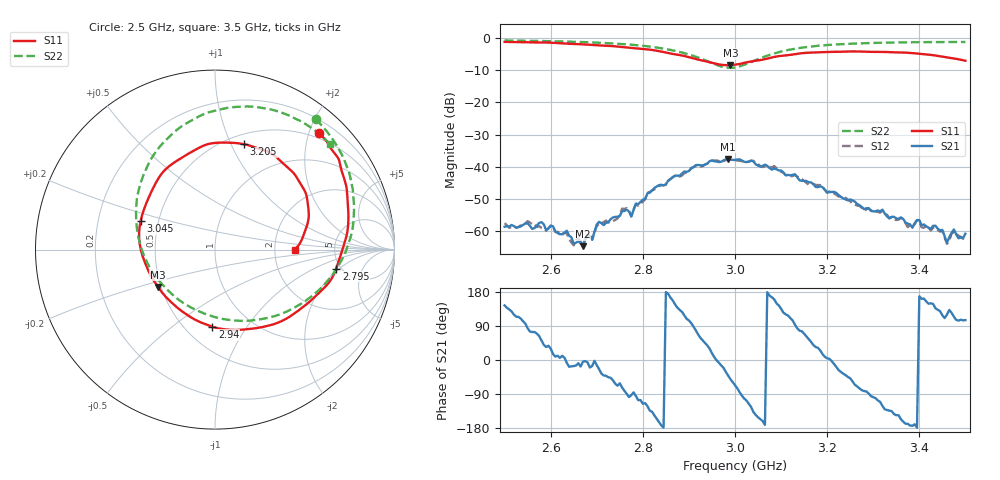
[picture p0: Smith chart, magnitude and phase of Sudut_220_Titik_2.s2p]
# Hz S RI R 50
! CMT, C1220, 16058040, 17.2.0/1
! Date: 15/08/2018 10:51:23
! Data: Format (Calibration Info)
! Freq  S11: Re/Im (F2)  S21: Re/Im (F2)  S12: Re/Im (F2)  S22: Re/Im (F2)
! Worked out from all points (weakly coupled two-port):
!   201 points, 2.5 GHz to 3.5 GHz, reference 50 ohm
!   highest |S21| = -37.50 dB at 2.985 GHz (marker M1); lowest = -64.6 dB at 2.67 GHz (marker M2)
!   lowest |S11| = -8.4 dB at 2.99 GHz (marker M3), VSWR 2.22, Z = 24.1 - j11.7 ohm
!   |S11| at or under -10 dB: nowhere
!   |S22| runs from -9.2 to -0.7 dB; largest |S21 - S12| = 0.00096
!   S11 on the Smith chart (normalised r, x): 2.5 GHz: 0.40, +2.17; 2.795 GHz: 4.57, -1.81; 2.94 GHz: 0.67, -0.71; 3.045 GHz: 0.40, +0.16; 3.205 GHz: 0.60, +1.12; 3.5 GHz: 2.60, -0.00
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2.5e9  0.5807 0.6503  -0.000951 0.000692  -0.00109 0.000779  0.5619 0.7262
2.58e9  0.6798 0.5192  0.00086 0.00109  0.000755 0.000844  0.6502 0.6228
2.67e9  0.7361 0.3126  0.000586 -4.59e-05  0.000597 -0.000101  0.7373 0.4562
2.68e9  0.7383 0.2831  0.000873 -9.83e-05  0.000811 -8.16e-05  0.7459 0.4337
2.69e9  0.7409 0.2489  0.00071 -0.000201  0.000719 -0.000186  0.7518 0.4101
2.705e9  0.7431 0.2034  0.00128 -0.000571  0.00121 -0.000491  0.7608 0.3709
2.755e9  0.7242 0.0459  0.00061 -0.00196  0.000782 -0.00211  0.7748 0.2302
2.775e9  0.7028 -0.0224  -7.68e-05 -0.00169  -0.000189 -0.00171  0.7717 0.1633
2.795e9  0.6755 -0.1056  -0.00078 -0.00274  -0.000791 -0.00255  0.7613 0.0922
2.835e9  0.5787 -0.2423  -0.005 -0.00144  -0.0048 -0.00151  0.7017 -0.0656
2.94e9  -0.0141 -0.4299  0.00884 0.00697  0.00867 0.00718  0.1876 -0.3963
2.985e9  -0.2953 -0.2387  0.0101 -0.00872  0.0106 -0.00834  -0.171 -0.3007
2.99e9  -0.3174 -0.2078  0.00822 -0.00998  0.00874 -0.0104  -0.2078 -0.2757
3e9  -0.3587 -0.1434  0.00511 -0.0117  0.00446 -0.0121  -0.2735 -0.2159
3.045e9  -0.4145 0.1576  -0.009 -0.00627  -0.00937 -0.00677  -0.4361 0.1281
3.17e9  0.0288 0.5961  0.00417 0.00344  0.00391 0.00379  -0.0923 0.7408
3.205e9  0.1617 0.587  0.00406 0.000219  0.00416 -2.45e-05  0.0359 0.783
3.335e9  0.4655 0.3855  -0.0011 -0.00115  -0.00117 -0.00107  0.3899 0.7563
3.435e9  0.5157 0.145  -0.000884 0.000843  -0.000815 0.000795  0.5609 0.6603
3.46e9  0.4939 0.0821  -0.000329 0.000577  -0.00029 0.000569  0.5955 0.6335
3.475e9  0.4796 0.0473  -0.000441 0.000974  -0.000454 0.000873  0.6132 0.616
3.5e9  0.4445 -0.000406  -0.000241 0.000885  -0.000189 0.00085  0.6428 0.5862
